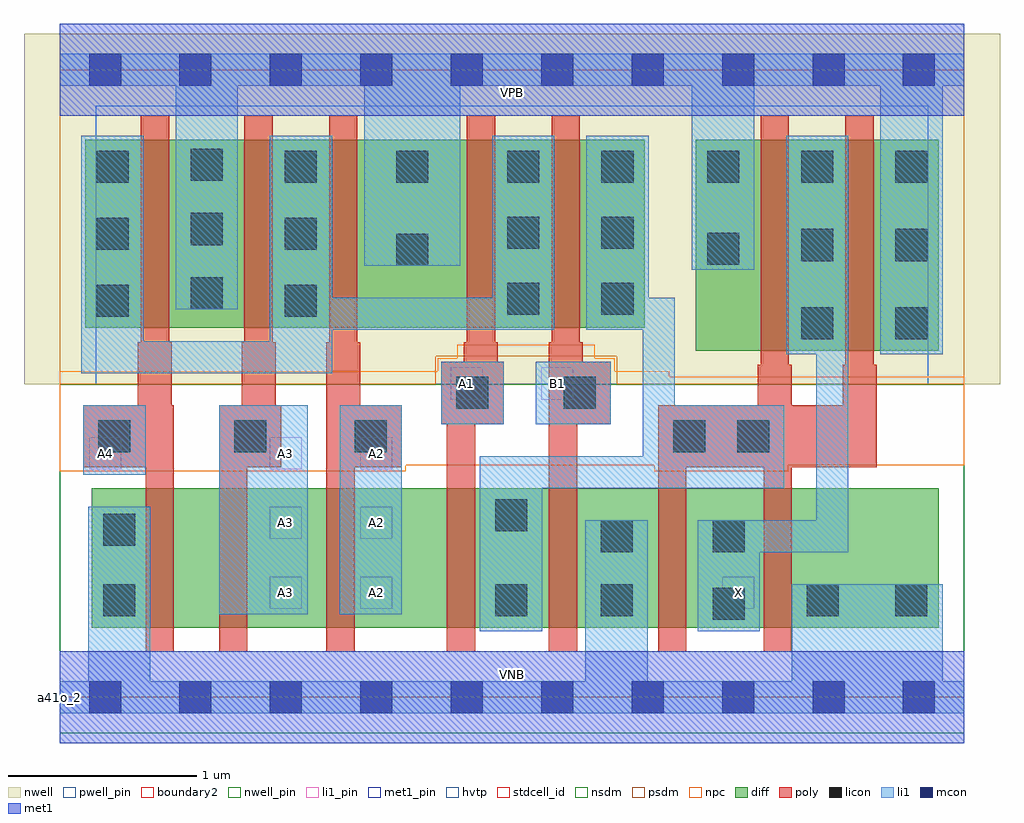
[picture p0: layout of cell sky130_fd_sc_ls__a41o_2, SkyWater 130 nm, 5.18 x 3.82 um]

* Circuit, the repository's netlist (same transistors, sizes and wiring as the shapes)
* Copyright 2020 The SkyWater PDK Authors
*
* Licensed under the Apache License, Version 2.0 (the "License");
* you may not use this file except in compliance with the License.
* You may obtain a copy of the License at
*
*     https://www.apache.org/licenses/LICENSE-2.0
*
* Unless required by applicable law or agreed to in writing, software
* distributed under the License is distributed on an "AS IS" BASIS,
* WITHOUT WARRANTIES OR CONDITIONS OF ANY KIND, either express or implied.
* See the License for the specific language governing permissions and
* limitations under the License.
*
* SPDX-License-Identifier: Apache-2.0

.SUBCKT sky130_fd_sc_ls__a41o_2 A1 A2 A3 A4 B1 VGND VNB VPB VPWR X
*.PININFO A1:I A2:I A3:I A4:I B1:I VGND:I VNB:I VPB:I VPWR:I X:O
MMPA0 pndA A1 VPWR VPB sky130_fd_pr__pfet_01v8_hvt m=1 w=1.0U l=0.15U mult=1 sa=0.265
+ sb=0.265 sd=0.28 area=0.063 perim=1.14
MMPA1 pndA A2 VPWR VPB sky130_fd_pr__pfet_01v8_hvt m=1 w=1.0U l=0.15U mult=1 sa=0.265
+ sb=0.265 sd=0.28 area=0.063 perim=1.14
MMPA2 pndA A3 VPWR VPB sky130_fd_pr__pfet_01v8_hvt m=1 w=1.0U l=0.15U mult=1 sa=0.265
+ sb=0.265 sd=0.28 area=0.063 perim=1.14
MMPA3 pndA A4 VPWR VPB sky130_fd_pr__pfet_01v8_hvt m=1 w=1.0U l=0.15U mult=1 sa=0.265
+ sb=0.265 sd=0.28 area=0.063 perim=1.14
MMPB0 y B1 pndA VPB sky130_fd_pr__pfet_01v8_hvt m=1 w=1.0U l=0.15U mult=1 sa=0.265
+ sb=0.265 sd=0.28 area=0.063 perim=1.14
MMIPX X y VPWR VPB sky130_fd_pr__pfet_01v8_hvt m=2 w=1.12U l=0.15U mult=1 sa=0.265
+ sb=0.265 sd=0.28 area=0.063 perim=1.14
MMNA0 y A1 sndA1 VNB sky130_fd_pr__nfet_01v8 m=1 w=0.74U l=0.15U mult=1 sa=0.265
+ sb=0.265 sd=0.28 area=0.063 perim=1.14
MMNA1 sndA1 A2 sndA2 VNB sky130_fd_pr__nfet_01v8 m=1 w=0.74U l=0.15U mult=1 sa=0.265
+ sb=0.265 sd=0.28 area=0.063 perim=1.14
MMNA2 sndA2 A3 sndA3 VNB sky130_fd_pr__nfet_01v8 m=1 w=0.74U l=0.15U mult=1 sa=0.265
+ sb=0.265 sd=0.28 area=0.063 perim=1.14
MMNA3 sndA3 A4 VGND VNB sky130_fd_pr__nfet_01v8 m=1 w=0.74U l=0.15U mult=1 sa=0.265
+ sb=0.265 sd=0.28 area=0.063 perim=1.14
MMNB0 y B1 VGND VNB sky130_fd_pr__nfet_01v8 m=1 w=0.74U l=0.15U mult=1 sa=0.265
+ sb=0.265 sd=0.28 area=0.063 perim=1.14
MMINX X y VGND VNB sky130_fd_pr__nfet_01v8 m=2 w=0.74U l=0.15U mult=1 sa=0.265
+ sb=0.265 sd=0.28 area=0.063 perim=1.14
.ENDS sky130_fd_sc_ls__a41o_2

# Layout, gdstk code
import gdstk
lib = gdstk.Library(unit=1e-6, precision=1e-09)
def R(c, l, rs):  # rectangles x0, y0, x1, y1
    for r in rs: c.add(gdstk.rectangle(r[:2], r[2:], *l))
def A(c, l, x, y, w, h, nx, ny, dx, dy):  # array of equal rectangles
    R(c, l, [(x+i*dx, y+j*dy, x+i*dx+w, y+j*dy+h) for i in range(nx) for j in range(ny)])
def P(c, l, *ps):  # polygons
    for p in ps: c.add(gdstk.Polygon(p, *l))
nwell_pin = (64, 16)
nwell = (64, 20)
diff = (65, 20)
poly = (66, 20)
licon = (66, 44)
li1_pin = (67, 16)
li1 = (67, 20)
mcon = (67, 44)
met1_pin = (68, 16)
met1 = (68, 20)
hvtp = (78, 44)
stdcell_id = (81, 4)
nsdm = (93, 44)
psdm = (94, 20)
npc = (95, 20)
pwell_pin = (122, 16)
boundary2 = (236, 0)

sky130_fd_sc_ls__a41o_2 = lib.new_cell('sky130_fd_sc_ls__a41o_2')
R(sky130_fd_sc_ls__a41o_2, nwell_pin, [(0,3.085,4.8,3.33)])
R(sky130_fd_sc_ls__a41o_2, nwell, [(-0.19,1.66,4.99,3.52)])
R(sky130_fd_sc_ls__a41o_2, diff, [(0.17,0.37,4.665,1.11), (3.375,1.84,4.665,2.96), (0.135,1.96,3.105,2.96)])
P(sky130_fd_sc_ls__a41o_2, poly, [(4.335,1.765),(4.32,1.765),(4.32,3.09),(4.17,3.09),(4.17,1.765),(4.155,1.765),(4.155,1.55),(3.885,1.55),(3.885,1.765),(3.87,1.765),(3.87,3.09),(3.72,3.09),(3.72,1.765),(3.705,1.765),(3.705,1.55),(3.175,1.55),(3.175,0.24),(3.325,0.24),(3.325,1.22),(3.735,1.22),(3.735,0.24),(3.885,0.24),(3.885,1.22),(4.335,1.22)],
  [(2.925,1.78),(2.775,1.78),(2.775,1.885),(2.76,1.885),(2.76,3.09),(2.61,3.09),(2.61,1.885),(2.595,1.885),(2.595,0.24),(2.745,0.24),(2.745,1.45),(2.925,1.45)],
  [(2.355,1.78),(2.325,1.78),(2.325,1.885),(2.31,1.885),(2.31,3.09),(2.16,3.09),(2.16,1.885),(2.145,1.885),(2.145,1.78),(2.025,1.78),(2.025,1.45),(2.055,1.45),(2.055,0.24),(2.205,0.24),(2.205,1.45),(2.355,1.45)],
  [(1.815,1.55),(1.595,1.55),(1.595,1.885),(1.58,1.885),(1.58,3.09),(1.43,3.09),(1.43,1.885),(1.415,1.885),(1.415,0.24),(1.565,0.24),(1.565,1.22),(1.815,1.22)],
  [(1.175,1.55),(1.145,1.55),(1.145,1.885),(1.13,1.885),(1.13,3.09),(0.98,3.09),(0.98,1.885),(0.965,1.885),(0.965,1.55),(0.845,1.55),(0.845,0.24),(0.995,0.24),(0.995,1.22),(1.175,1.22)],
  [(0.605,1.55),(0.595,1.55),(0.595,1.885),(0.58,1.885),(0.58,3.09),(0.43,3.09),(0.43,1.885),(0.415,1.885),(0.415,1.55),(0.125,1.55),(0.125,1.22),(0.455,1.22),(0.455,0.24),(0.605,0.24)])
A(sky130_fd_sc_ls__a41o_2, licon, 0.195, 2.02, 0.17, 0.17, 1, 3, 0, 0.355)
A(sky130_fd_sc_ls__a41o_2, licon, 2.875, 2.03, 0.17, 0.17, 1, 3, 0, 0.35)
A(sky130_fd_sc_ls__a41o_2, licon, 0.695, 2.06, 0.17, 0.17, 1, 3, 0, 0.34)
A(sky130_fd_sc_ls__a41o_2, licon, 1.195, 2.73, 0.17, 0.17, 3, 1, 0.59, 0)
A(sky130_fd_sc_ls__a41o_2, licon, 3.435, 2.73, 0.17, 0.17, 3, 1, 0.5, 0)
R(sky130_fd_sc_ls__a41o_2, licon, [(3.465,0.41,3.635,0.58), (0.23,0.43,0.4,0.6), (2.31,0.43,2.48,0.6), (2.87,0.43,3.04,0.6), (3.965,0.43,4.135,0.6), (4.435,0.43,4.605,0.6), (2.87,0.77,3.04,0.94), (3.465,0.77,3.635,0.94), (0.23,0.805,0.4,0.975), (2.31,0.88,2.48,1.05), (0.205,1.3,0.375,1.47), (0.925,1.3,1.095,1.47), (1.565,1.3,1.735,1.47), (3.255,1.3,3.425,1.47), (3.595,1.3,3.765,1.47), (2.105,1.53,2.275,1.7), (2.675,1.53,2.845,1.7), (3.935,1.9,4.105,2.07), (4.435,1.9,4.605,2.07), (1.195,2.02,1.365,2.19), (2.375,2.03,2.545,2.2), (1.785,2.29,1.955,2.46), (3.435,2.295,3.605,2.465), (3.935,2.315,4.105,2.485), (4.435,2.315,4.605,2.485), (1.195,2.375,1.365,2.545), (2.375,2.38,2.545,2.55)])
A(sky130_fd_sc_ls__a41o_2, li1_pin, 1.115, 0.47, 0.17, 0.17, 1, 3, 0, 0.37)
A(sky130_fd_sc_ls__a41o_2, li1_pin, 1.595, 0.47, 0.17, 0.17, 1, 3, 0, 0.37)
R(sky130_fd_sc_ls__a41o_2, li1_pin, [(3.515,0.47,3.685,0.64), (0.155,1.21,0.325,1.38), (2.075,1.58,2.245,1.75), (2.555,1.58,2.725,1.75)])
R(sky130_fd_sc_ls__a41o_2, li1, [(0.845,0.44,1.315,1.55), (1.485,0.44,1.815,1.55), (0.125,1.18,0.455,1.55), (2.025,1.45,2.355,1.78), (2.525,1.45,2.925,1.78)])
P(sky130_fd_sc_ls__a41o_2, li1, [(0,-0.085),(0,0.085),(0.15,0.085),(0.15,1.01),(0.48,1.01),(0.48,0.085),(2.79,0.085),(2.79,0.94),(3.12,0.94),(3.12,0.085),(3.885,0.085),(3.885,0.6),(4.685,0.6),(4.685,0.085),(4.8,0.085),(4.8,-0.085)],
  [(0,3.245),(0,3.415),(4.8,3.415),(4.8,3.245),(4.685,3.245),(4.685,1.82),(4.355,1.82),(4.355,3.245),(3.685,3.245),(3.685,2.27),(3.355,2.27),(3.355,3.245),(2.125,3.245),(2.125,2.29),(1.615,2.29),(1.615,3.245),(0.945,3.245),(0.945,2.06),(0.615,2.06),(0.615,3.245)],
  [(3.385,0.35),(3.385,0.94),(4.015,0.94),(4.015,1.82),(3.855,1.82),(3.855,2.98),(4.185,2.98),(4.185,0.77),(3.715,0.77),(3.715,0.35)],
  [(0.445,1.89),(1.115,1.89),(1.115,2.98),(1.445,2.98),(1.445,2.12),(2.295,2.12),(2.295,2.98),(2.625,2.98),(2.625,1.95),(1.445,1.95),(1.445,1.72),(0.115,1.72),(0.115,2.98),(0.445,2.98)],
  [(3.095,1.28),(3.095,1.95),(2.795,1.95),(2.795,2.98),(3.125,2.98),(3.125,2.12),(3.265,2.12),(3.265,1.55),(3.845,1.55),(3.845,1.11),(2.56,1.11),(2.56,0.35),(2.23,0.35),(2.23,1.28)])
A(sky130_fd_sc_ls__a41o_2, mcon, 0.155, -0.085, 0.17, 0.17, 10, 2, 0.48, 3.33)
R(sky130_fd_sc_ls__a41o_2, met1_pin, [(0,0,4.8,0.245), (0,3.085,4.8,3.33)])
R(sky130_fd_sc_ls__a41o_2, met1, [(0,-0.245,4.8,0.245), (0,3.085,4.8,3.575)])
R(sky130_fd_sc_ls__a41o_2, hvtp, [(0.19,1.66,4.61,3.14)])
R(sky130_fd_sc_ls__a41o_2, stdcell_id, [(0,0,4.8,3.33)])
R(sky130_fd_sc_ls__a41o_2, nsdm, [(0,-0.19,4.8,1.66)])
P(sky130_fd_sc_ls__a41o_2, psdm, [(4.8,3.52),(0,3.52),(0,1.66),(1.995,1.66),(1.995,1.81),(2.955,1.81),(2.955,1.66),(4.8,1.66)])
P(sky130_fd_sc_ls__a41o_2, npc, [(4.8,1.7),(3.235,1.7),(3.235,1.73),(2.945,1.73),(2.945,1.8),(2.84,1.8),(2.84,1.87),(2.11,1.87),(2.11,1.8),(2.005,1.8),(2.005,1.73),(0,1.73),(0,1.2),(1.835,1.2),(1.835,1.23),(3.155,1.23),(3.155,1.2),(3.865,1.2),(3.865,1.23),(4.8,1.23)])
R(sky130_fd_sc_ls__a41o_2, pwell_pin, [(0,0,4.8,0.245)])
R(sky130_fd_sc_ls__a41o_2, boundary2, [(0,0,4.8,3.33)])
sky130_fd_sc_ls__a41o_2.add(gdstk.Label('a41o_2', (0,0), layer=83, texttype=44))
sky130_fd_sc_ls__a41o_2.add(gdstk.Label('VNB', (2.4,0.123), layer=64, texttype=59))
sky130_fd_sc_ls__a41o_2.add(gdstk.Label('VPB', (2.4,3.208), layer=64, texttype=5))
sky130_fd_sc_ls__a41o_2.add(gdstk.Label('VPWR', (2.4,3.208), layer=68, texttype=5))
sky130_fd_sc_ls__a41o_2.add(gdstk.Label('VGND', (2.4,0.123), layer=68, texttype=5))
sky130_fd_sc_ls__a41o_2.add(gdstk.Label('A1', (2.16,1.665), layer=67, texttype=5))
sky130_fd_sc_ls__a41o_2.add(gdstk.Label('A2', (1.68,0.555), layer=67, texttype=5))
sky130_fd_sc_ls__a41o_2.add(gdstk.Label('A2', (1.68,0.925), layer=67, texttype=5))
sky130_fd_sc_ls__a41o_2.add(gdstk.Label('A2', (1.68,1.295), layer=67, texttype=5))
sky130_fd_sc_ls__a41o_2.add(gdstk.Label('A3', (1.2,0.555), layer=67, texttype=5))
sky130_fd_sc_ls__a41o_2.add(gdstk.Label('A3', (1.2,0.925), layer=67, texttype=5))
sky130_fd_sc_ls__a41o_2.add(gdstk.Label('A3', (1.2,1.295), layer=67, texttype=5))
sky130_fd_sc_ls__a41o_2.add(gdstk.Label('A4', (0.24,1.295), layer=67, texttype=5))
sky130_fd_sc_ls__a41o_2.add(gdstk.Label('B1', (2.64,1.665), layer=67, texttype=5))
sky130_fd_sc_ls__a41o_2.add(gdstk.Label('X', (3.6,0.555), layer=67, texttype=5))

lib.write_gds('sky130_fd_sc_ls__a41o_2.gds')
